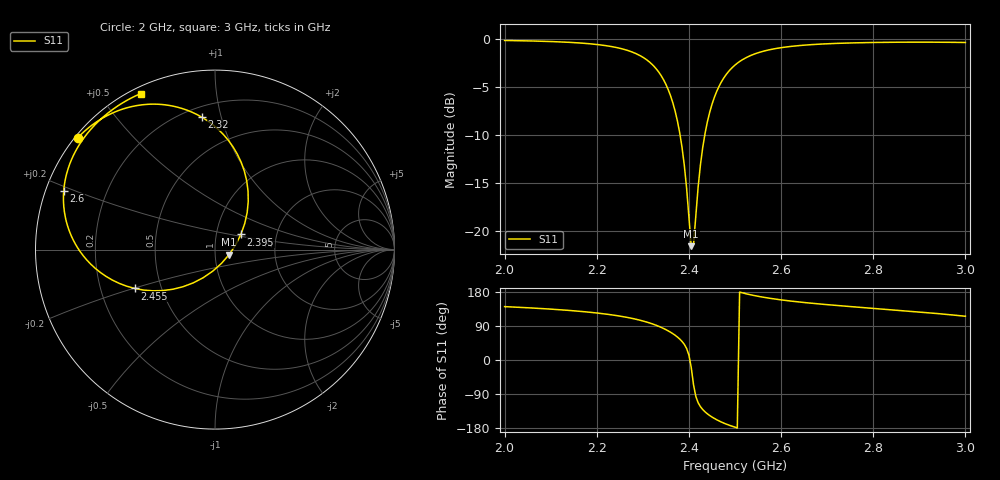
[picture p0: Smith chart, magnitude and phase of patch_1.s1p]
! Touchstone file exported from HFSS 2025.1.0
!  File:  C:/Users/Administrator/AppData/Local/Temp/tmpmlntgfnl.ansys/patch.aedt
!  Generated:  05:07:42 PM Nov 20, 2025
!  Design:  patch
!  Project:  patch
!  Setup:  Setup1
!  Solution:  Sweep1
# GHz S MA R 50.000000
! Terminal data exported
! Port[1] = ground_T1
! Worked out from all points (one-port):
!   201 points, 2 GHz to 3 GHz, reference 50 ohm
!   lowest |S11| = -21.6 dB at 2.405 GHz (marker M1), VSWR 1.18, Z = 58.4 - j3.3 ohm
!   |S11| at or under -10 dB: 2.381 GHz to 2.434 GHz (53.54 MHz wide, 2.22 % of centre)
!   S11 on the Smith chart (normalised r, x): 2 GHz: 0.01, +0.36; 2.32 GHz: 0.27, +0.87; 2.395 GHz: 1.31, +0.23; 2.455 GHz: 0.35, -0.20; 2.6 GHz: 0.05, +0.19; 3 GHz: 0.03, +0.63
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2  0.9866 140.9
! Gamma 0 0
! Port Impedance 50 0
2.125  0.9687 132.2
2.195  0.9429 124.7
2.25  0.8983 115.9
2.29  0.8318 106.2
2.32  0.7406 95.6
2.335  0.6722 88.7
2.35  0.5825 80.2
2.365  0.4672 69.5
2.375  0.3754 60.7
2.385  0.2735 49.1
2.39  0.2202 41.2
2.395  0.1671 30.4
2.405  0.08337 -19.7
2.41  0.08506 -65.3
2.42  0.1698 -112.8
2.43  0.2731 -130.8
2.44  0.3706 -141.9
2.455  0.4967 -154.2
2.475  0.6252 -166.2
2.5  0.7343 -177.3
2.54  0.8346 170.5
2.6  0.9047 158.7
2.625  0.9207 155.0
2.68  0.9429 148.2
2.75  0.9575 141.0
2.875  0.9666 129.2
3  0.9628 115.4
